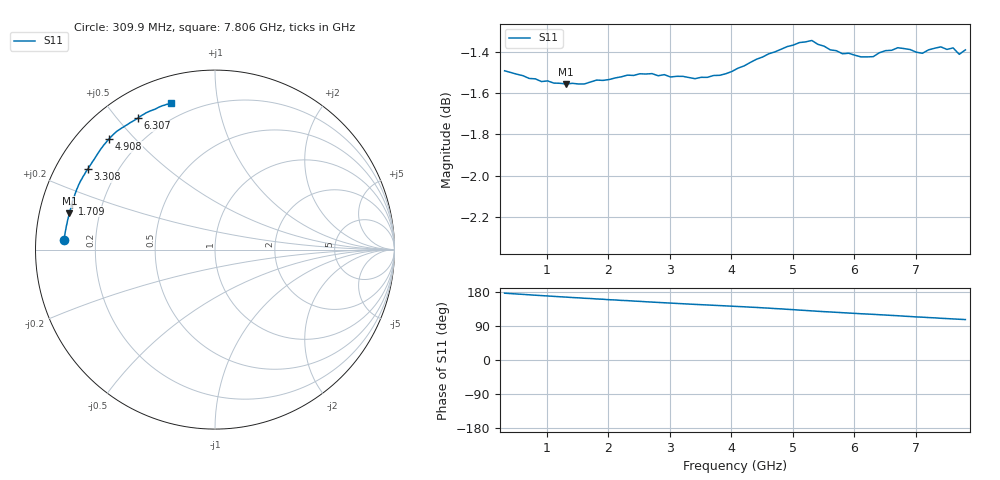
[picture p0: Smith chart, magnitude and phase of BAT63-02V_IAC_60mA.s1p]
! Infineon Technologies  Discrete & RF Semiconductors
! BAT63-02V
! IAC = 60 mA
! One-Port S-Parameters
# Hz  S  MA  R  50
!f  S11
!Hz  Mag  Ang
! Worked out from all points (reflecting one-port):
!   76 points, 309.9 MHz to 7.806 GHz, reference 50 ohm
!   lowest |S11| = -1.6 dB at 1.309 GHz (marker M1), VSWR 11.20, Z = 4.53 + j6.09 ohm
!   phase of S11 starts at 176 deg and turns -70 deg over the sweep
!   S11 on the Smith chart (normalised r, x): 309.9 MHz: 0.09, +0.03; 1.709 GHz: 0.09, +0.16; 3.308 GHz: 0.09, +0.29; 4.908 GHz: 0.09, +0.42; 6.307 GHz: 0.11, +0.57; 7.806 GHz: 0.12, +0.74
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3.0985e8  0.8423 176.3
8.096e8  0.8385 171.0
1.30935e9  0.8361 166.0
1.6092e9  0.8361 162.9
1.70915e9  0.837 162.2
1.8091e9  0.8379 161.1
1.90905e9  0.8378 160.3
2.009e9  0.8382 159.1
2.10895e9  0.8389 158.5
2.2089e9  0.8395 157.3
2.30885e9  0.8403 156.6
2.50875e9  0.8409 154.7
2.6087e9  0.8408 153.7
3.2084e9  0.8397 148.4
3.30835e9  0.8391 147.6
4.10795e9  0.8435 141.2
4.4078e9  0.8478 138.7
4.90755e9  0.8538 133.8
5.0075e9  0.8545 132.8
5.4073e9  0.8548 128.5
6.007e9  0.8497 123.0
6.30685e9  0.849 120.5
6.70665e9  0.8532 116.8
6.90655e9  0.8524 114.8
7.0065e9  0.8511 113.7
7.10645e9  0.8506 113.0
7.4063e9  0.8536 110.1
7.8061e9  0.8522 106.7
